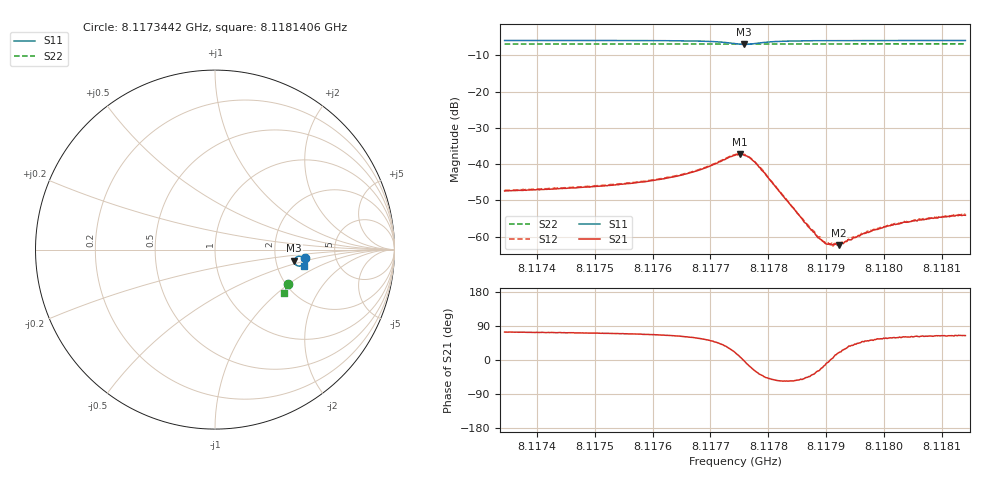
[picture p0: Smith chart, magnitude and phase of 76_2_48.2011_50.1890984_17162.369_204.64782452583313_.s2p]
#  HZ  S  RI  R  50.00
! Rohde & Schwarz Vector Network Analyzer
! Rohde-Schwarz,ZNB20-2Port,1311601062101988,3.16
! Created: UTC 3/20/2024, 11:39:23 AM
! freq[Hz]  re:S11  im:S11  re:S21  im:S21  re:S12  im:S12  re:S22  im:S22
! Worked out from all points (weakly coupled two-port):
!   401 points, 8.1173442 GHz to 8.1181406 GHz, reference 50 ohm
!   highest |S21| = -37.27 dB at 8.1177504 GHz (marker M1); lowest = -62.4 dB at 8.1179216 GHz (marker M2)
!   lowest |S11| = -7.0 dB at 8.1177583 GHz (marker M3), VSWR 2.61, Z = 127 - j19.5 ohm
!   |S11| at or under -10 dB: nowhere
!   |S22| runs from -6.9 to -6.9 dB; largest |S21 - S12| = 0.00047
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8.11734422e9  0.5035 -0.0443  0.00119 0.00409  0.00128 0.00419  0.4087 -0.192
8.11747761e9  0.5017 -0.0565  0.00154 0.00454  0.00158 0.00457  0.405 -0.2007
8.11754929e9  0.5 -0.0642  0.00185 0.00498  0.002 0.00505  0.4029 -0.2053
8.11761101e9  0.4973 -0.072  0.00248 0.00561  0.00257 0.00568  0.401 -0.2093
8.11764287e9  0.4945 -0.0772  0.00308 0.00612  0.00322 0.00621  0.3999 -0.2115
8.11767671e9  0.4892 -0.0839  0.0043 0.00687  0.00446 0.00697  0.3986 -0.2137
8.11774241e9  0.4493 -0.0837  0.0125 0.0045  0.0128 0.00441  0.3948 -0.2172
8.11775038e9  0.4432 -0.0741  0.0135 0.00224  0.0137 0.00208  0.3945 -0.2171
8.11775834e9  0.4414 -0.0617  0.0132 -0.000548  0.0137 -0.000652  0.3943 -0.217
8.1177683e9  0.4475 -0.0474  0.0116 -0.00367  0.0117 -0.00385  0.3944 -0.217
8.11778223e9  0.4632 -0.0376  0.00787 -0.00538  0.00794 -0.00558  0.3948 -0.2176
8.11781608e9  0.4882 -0.0444  0.00262 -0.00366  0.00266 -0.00371  0.395 -0.2203
8.11785391e9  0.4959 -0.0559  0.00119 -0.00154  0.00118 -0.00156  0.394 -0.2233
8.11787581e9  0.4975 -0.061  0.000944 -0.000762  0.000963 -0.000797  0.3932 -0.2246
8.11788576e9  0.4979 -0.0629  0.000847 -0.00047  0.000851 -0.000501  0.393 -0.2253
8.11789771e9  0.4982 -0.0651  0.00079 -0.000202  0.000827 -0.000179  0.3927 -0.2261
8.11790966e9  0.4983 -0.067  0.000772 4.02e-05  0.000818 2.21e-05  0.3923 -0.2269
8.1179216e9  0.4986 -0.0689  0.000718 0.000251  0.000772 0.000261  0.3918 -0.2278
8.11797337e9  0.4986 -0.0755  0.000731 0.000881  0.00078 0.000887  0.3901 -0.231
8.1180092e9  0.4982 -0.0797  0.000749 0.0012  0.000782 0.00121  0.3887 -0.2332
8.11806495e9  0.4976 -0.0852  0.00078 0.00152  0.000816 0.00155  0.3871 -0.2367
8.11814061e9  0.4965 -0.092  0.000854 0.00178  0.000867 0.00184  0.3843 -0.2415
